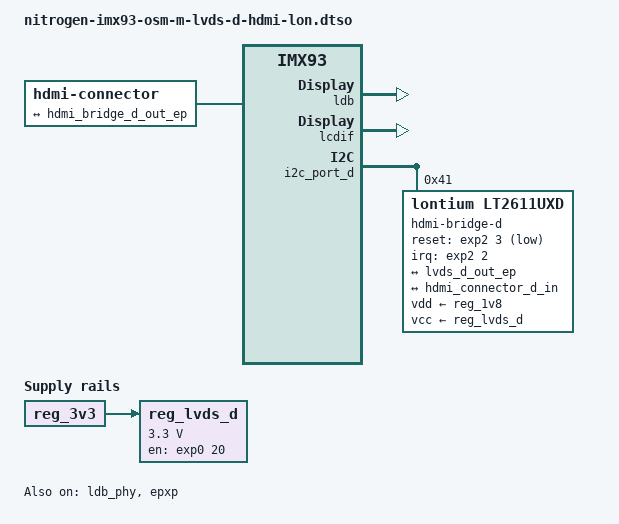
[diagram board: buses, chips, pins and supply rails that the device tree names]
// SPDX-License-Identifier: (GPL-2.0-or-later OR MIT)
/*
 * LVDS-D to HDMI LT2611UXD expansion board for Nitrogen i.MX93 OSM-M
 *
 * Copyright 2026 Ezurio LLC
 */

/dts-v1/;
/plugin/;

#include <dt-bindings/gpio/gpio.h>
#include <dt-bindings/interrupt-controller/irq.h>

#include "nitrogen-imx93-bd-panel.dtsi"

&{/} {
	hdmi_connector_d: hdmi-connector-d {
		compatible = "hdmi-connector";
		label = "hdmi";
		type = "a";

		port {
			hdmi_connector_d_in: endpoint {
				remote-endpoint = <&hdmi_bridge_d_out_ep>;
			};
		};
	};

	reg_lvds_d: regulator-lvds-d {
		compatible = "regulator-fixed";
		regulator-name = "reg_lvds_d";
		regulator-min-microvolt = <3300000>;
		regulator-max-microvolt = <3300000>;

		vin-supply = <&reg_3v3>;

		gpio = <&exp0 20 GPIO_ACTIVE_HIGH>; /* GPIO_B_6 / LVDS_D_VDD_EN */
		enable-active-high;
		startup-delay-us = <10000>;
		regulator-always-on;
	};

	display-subsystem {
		status = "okay";
	};
};

&ldb {
	status = "okay";

	#address-cells = <1>;
	#size-cells = <0>;

	lvds-channel@0 {
		status = "okay";

		#address-cells = <1>;
		#size-cells = <0>;

		port@1 {
			reg = <1>;

			lvds_d_out_ep: endpoint {
				remote-endpoint = <&hdmi_bridge_d_in_ep>;
			};
		};
	};
};

&ldb_phy {
	status = "okay";
};

&epxp {
	status = "okay";
};

&lcdif {
	assigned-clock-rates = <519750000>, <74250000>, <400000000>, <133333333>;
	status = "okay";
};

&i2c_port_d {
	#address-cells = <1>;
	#size-cells = <0>;

	hdmi-bridge-d@41 {
		compatible = "lontium,lt2611uxd";
		reg = <0x41>;

		interrupts-extended = <&exp2 2 IRQ_TYPE_EDGE_FALLING>;
		interrupt-names = "irq";

		reset-gpios = <&exp2 3 GPIO_ACTIVE_LOW>;

		vdd-supply = <&reg_1v8>;
		vcc-supply = <&reg_lvds_d>;

		ports {
			#address-cells = <1>;
			#size-cells = <0>;

			port@0 {
				reg = <0>;

				hdmi_bridge_d_in_ep: endpoint {
					remote-endpoint = <&lvds_d_out_ep>;
				};
			};

			port@4 {
				reg = <4>;

				hdmi_bridge_d_out_ep: endpoint {
					remote-endpoint = <&hdmi_connector_d_in>;
				};
			};
		};
	};
};
